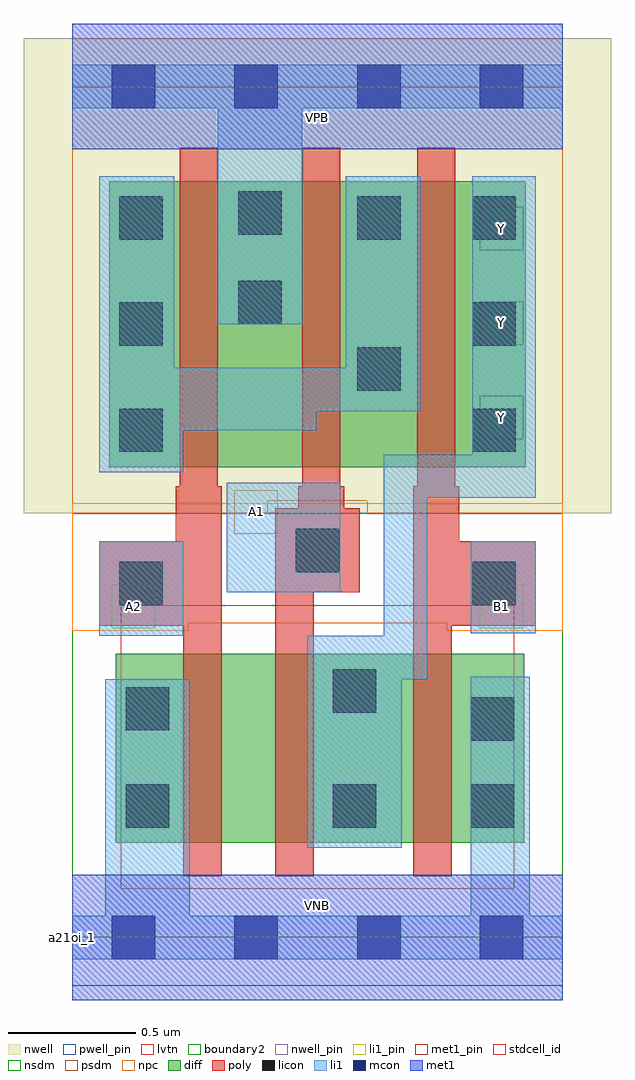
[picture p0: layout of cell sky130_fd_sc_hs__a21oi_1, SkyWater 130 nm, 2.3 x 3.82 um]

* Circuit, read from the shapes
.subckt sky130_fd_sc_hs__a21oi_1 A1 A2 B1 VGND VNB VPB VPWR Y
XM1 n1 A2 VGND VNB sky130_fd_pr__nfet_01v8_lvt w=0.74 l=0.15
XM2 Y A1 n1 VNB sky130_fd_pr__nfet_01v8_lvt w=0.74 l=0.15
XM3 VGND B1 Y VNB sky130_fd_pr__nfet_01v8_lvt w=0.74 l=0.15
XM4 VPWR A2 n2 VPB sky130_fd_pr__pfet_01v8 w=1.12 l=0.15
XM5 n2 A1 VPWR VPB sky130_fd_pr__pfet_01v8 w=1.12 l=0.15
XM6 Y B1 n2 VPB sky130_fd_pr__pfet_01v8 w=1.12 l=0.15
.ends

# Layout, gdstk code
import gdstk
lib = gdstk.Library(unit=1e-6, precision=1e-09)
def R(c, l, rs):  # rectangles x0, y0, x1, y1
    for r in rs: c.add(gdstk.rectangle(r[:2], r[2:], *l))
def A(c, l, x, y, w, h, nx, ny, dx, dy):  # array of equal rectangles
    R(c, l, [(x+i*dx, y+j*dy, x+i*dx+w, y+j*dy+h) for i in range(nx) for j in range(ny)])
def P(c, l, *ps):  # polygons
    for p in ps: c.add(gdstk.Polygon(p, *l))
nwell_pin = (64, 16)
nwell = (64, 20)
diff = (65, 20)
poly = (66, 20)
licon = (66, 44)
li1_pin = (67, 16)
li1 = (67, 20)
mcon = (67, 44)
met1_pin = (68, 16)
met1 = (68, 20)
stdcell_id = (81, 4)
nsdm = (93, 44)
psdm = (94, 20)
npc = (95, 20)
pwell_pin = (122, 16)
lvtn = (125, 44)
boundary2 = (236, 0)

sky130_fd_sc_hs__a21oi_1 = lib.new_cell('sky130_fd_sc_hs__a21oi_1')
R(sky130_fd_sc_hs__a21oi_1, nwell_pin, [(0,3.085,1.92,3.33)])
R(sky130_fd_sc_hs__a21oi_1, nwell, [(-0.19,1.66,2.11,3.52)])
R(sky130_fd_sc_hs__a21oi_1, diff, [(0.17,0.37,1.77,1.11), (0.145,1.84,1.775,2.96)])
P(sky130_fd_sc_hs__a21oi_1, poly, [(1.815,1.55),(1.515,1.55),(1.515,1.765),(1.5,1.765),(1.5,3.09),(1.35,3.09),(1.35,1.765),(1.335,1.765),(1.335,0.24),(1.485,0.24),(1.485,1.22),(1.815,1.22)],
  [(0.585,1.765),(0.57,1.765),(0.57,3.09),(0.42,3.09),(0.42,1.765),(0.405,1.765),(0.405,1.55),(0.105,1.55),(0.105,1.22),(0.435,1.22),(0.435,0.24),(0.585,0.24)],
  [(1.125,1.68),(1.065,1.68),(1.065,1.765),(1.05,1.765),(1.05,3.09),(0.9,3.09),(0.9,1.765),(0.885,1.765),(0.885,1.68),(0.795,1.68),(0.795,0.24),(0.945,0.24),(0.945,1.35),(1.125,1.35)])
A(sky130_fd_sc_hs__a21oi_1, licon, 0.185, 1.9, 0.17, 0.17, 1, 3, 0, 0.415)
A(sky130_fd_sc_hs__a21oi_1, licon, 1.565, 1.9, 0.17, 0.17, 1, 3, 0, 0.415)
R(sky130_fd_sc_hs__a21oi_1, licon, [(0.21,0.43,0.38,0.6), (1.02,0.43,1.19,0.6), (1.56,0.43,1.73,0.6), (1.56,0.77,1.73,0.94), (0.21,0.81,0.38,0.98), (1.02,0.88,1.19,1.05), (0.185,1.3,0.355,1.47), (1.565,1.3,1.735,1.47), (0.875,1.43,1.045,1.6), (1.115,2.14,1.285,2.31), (0.65,2.4,0.82,2.57), (1.115,2.73,1.285,2.9), (0.65,2.75,0.82,2.92)])
A(sky130_fd_sc_hs__a21oi_1, li1_pin, 1.595, 1.95, 0.17, 0.17, 1, 3, 0, 0.37)
R(sky130_fd_sc_hs__a21oi_1, li1_pin, [(0.155,1.21,0.325,1.38), (1.595,1.21,1.765,1.38), (0.635,1.58,0.805,1.75)])
R(sky130_fd_sc_hs__a21oi_1, li1, [(0.105,1.18,0.435,1.55), (1.56,1.19,1.815,1.55), (0.605,1.35,1.05,1.78)])
P(sky130_fd_sc_hs__a21oi_1, li1, [(0.57,2.4),(0.57,3.245),(0,3.245),(0,3.415),(1.92,3.415),(1.92,3.245),(0.9,3.245),(0.9,2.4)],
  [(0.13,0.085),(0.13,1.01),(0.46,1.01),(0.46,0.085),(1.56,0.085),(1.56,1.02),(1.79,1.02),(1.79,0.085),(1.92,0.085),(1.92,-0.085),(0,-0.085),(0,0.085)],
  [(1.565,1.89),(1.565,2.98),(1.815,2.98),(1.815,1.72),(1.39,1.72),(1.39,1.01),(1.29,1.01),(1.29,0.35),(0.92,0.35),(0.92,1.18),(1.22,1.18),(1.22,1.89)],
  [(1.365,2.98),(1.07,2.98),(1.07,2.23),(0.4,2.23),(0.4,2.98),(0.105,2.98),(0.105,1.82),(0.435,1.82),(0.435,1.985),(0.955,1.985),(0.955,2.06),(1.365,2.06)])
A(sky130_fd_sc_hs__a21oi_1, mcon, 0.155, -0.085, 0.17, 0.17, 4, 2, 0.48, 3.33)
R(sky130_fd_sc_hs__a21oi_1, met1_pin, [(0,0,1.92,0.245), (0,3.085,1.92,3.33)])
R(sky130_fd_sc_hs__a21oi_1, met1, [(0,-0.245,1.92,0.245), (0,3.085,1.92,3.575)])
R(sky130_fd_sc_hs__a21oi_1, stdcell_id, [(0,0,1.92,3.33)])
R(sky130_fd_sc_hs__a21oi_1, nsdm, [(0,-0.19,1.92,1.66)])
P(sky130_fd_sc_hs__a21oi_1, psdm, [(1.92,3.52),(0,3.52),(0,1.66),(0.765,1.66),(0.765,1.71),(1.155,1.71),(1.155,1.66),(1.92,1.66)])
P(sky130_fd_sc_hs__a21oi_1, npc, [(1.92,1.7),(0,1.7),(0,1.2),(0.455,1.2),(0.455,1.23),(1.465,1.23),(1.465,1.2),(1.92,1.2)])
R(sky130_fd_sc_hs__a21oi_1, pwell_pin, [(0,0,1.92,0.245)])
R(sky130_fd_sc_hs__a21oi_1, lvtn, [(0.19,0.19,1.73,1.3)])
R(sky130_fd_sc_hs__a21oi_1, boundary2, [(0,0,1.92,3.33)])
sky130_fd_sc_hs__a21oi_1.add(gdstk.Label('a21oi_1', (0,0), layer=83, texttype=44))
sky130_fd_sc_hs__a21oi_1.add(gdstk.Label('VNB', (0.96,0.123), layer=64, texttype=59))
sky130_fd_sc_hs__a21oi_1.add(gdstk.Label('VPB', (0.96,3.208), layer=64, texttype=5))
sky130_fd_sc_hs__a21oi_1.add(gdstk.Label('VPWR', (0.96,3.208), layer=68, texttype=5))
sky130_fd_sc_hs__a21oi_1.add(gdstk.Label('VGND', (0.96,0.123), layer=68, texttype=5))
sky130_fd_sc_hs__a21oi_1.add(gdstk.Label('B1', (1.68,1.295), layer=67, texttype=5))
sky130_fd_sc_hs__a21oi_1.add(gdstk.Label('Y', (1.68,2.035), layer=67, texttype=5))
sky130_fd_sc_hs__a21oi_1.add(gdstk.Label('Y', (1.68,2.405), layer=67, texttype=5))
sky130_fd_sc_hs__a21oi_1.add(gdstk.Label('Y', (1.68,2.775), layer=67, texttype=5))
sky130_fd_sc_hs__a21oi_1.add(gdstk.Label('A2', (0.24,1.295), layer=67, texttype=5))
sky130_fd_sc_hs__a21oi_1.add(gdstk.Label('A1', (0.72,1.665), layer=67, texttype=5))

lib.write_gds('sky130_fd_sc_hs__a21oi_1.gds')
